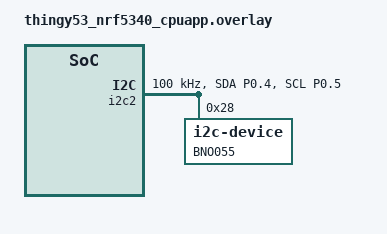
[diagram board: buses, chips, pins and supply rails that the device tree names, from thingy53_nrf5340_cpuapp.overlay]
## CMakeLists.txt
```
cmake_minimum_required(VERSION 3.20.0)
find_package(Zephyr REQUIRED HINTS $ENV{ZEPHYR_BASE})

project(imu-stuff)

target_sources(app PRIVATE src/main.c src/bno055.c)
target_include_directories(app PRIVATE src)
```

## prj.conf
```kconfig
CONFIG_GPIO=y
CONFIG_I2C=y

CONFIG_CBPRINTF_FP_SUPPORT=y
CONFIG_SENSOR=y

CONFIG_STDOUT_CONSOLE=y
```

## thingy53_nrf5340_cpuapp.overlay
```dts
// To get started, press Ctrl+Space (or Option+Esc) to bring up the completion menu and view the available nodes.

// You can also use the buttons in the sidebar to perform actions on nodes.
// Actions currently available include:

// * Enabling / disabling the node
// * Adding the bus to a bus
// * Removing the node
// * Connecting ADC channels

// For more help, browse the DeviceTree documentation at https://docs.zephyrproject.org/latest/guides/dts/index.html
// You can also visit the nRF DeviceTree extension documentation at https://docs.nordicsemi.com/bundle/nrf-connect-vscode/page/guides/ncs_configure_app.html#devicetree-support-in-the-extension

&pinctrl {
	i2c2_default: i2c2_default {
		group1 {
			psels = <NRF_PSEL(TWIM_SDA, 0, 4)>,
				<NRF_PSEL(TWIM_SCL, 0, 5)>;
		};
	};

	i2c2_sleep: i2c2_sleep {
		group1 {
			psels = <NRF_PSEL(TWIM_SDA, 0, 4)>,
				<NRF_PSEL(TWIM_SCL, 0, 5)>;
			low-power-enable;
		};
	};
};

&i2c2 {
	compatible = "nordic,nrf-twim";
	status = "okay";
	clock-frequency = <I2C_BITRATE_STANDARD>;

	pinctrl-0 = <&i2c2_default>;
	pinctrl-1 = <&i2c2_sleep>;
	pinctrl-names = "default", "sleep";

        bno055: bno055@28 {
            compatible = "i2c-device";
            reg = <0x28>;
            label = "BNO055";
        };
};
```

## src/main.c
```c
#include <zephyr/kernel.h>
#include <zephyr/drivers/i2c.h>
#include <zephyr/drivers/sensor.h>
#include <stdio.h>
#include "bno055.h"

#define SLEEP_TIME_MS 1000
#define I2C2_NODE DT_NODELABEL(bno055)

static const struct i2c_dt_spec dev_i2c = I2C_DT_SPEC_GET(I2C2_NODE);



int main(void)
{

        if (!device_is_ready(dev_i2c.bus)) {
		printf("Device %s is not ready\n", dev_i2c.bus->name);
		return 0;
	}

        printf("Device %p name is %s\n", &dev_i2c, dev_i2c.bus->name);

        uint8_t accel_data[6];
        int16_t accel_x, accel_y, accel_z;
        float accel_x_f, accel_y_f, accel_z_f;

        

        int ret;
        uint8_t config[2] = {BNO055_OPR_MODE_ADDR,BNO055_OPERATION_MODE_NDOF};
        ret = i2c_write_dt(&dev_i2c, config, sizeof(config));
        if(ret != 0){
	        printf("Failed to write to I2C device address %x at reg. %x \n\r", dev_i2c.addr,config[0]);
        }

        while (true) {
                if (i2c_burst_read_dt(&dev_i2c, BNO055_ACCEL_DATA_X_LSB_ADDR, accel_data, sizeof(accel_data)) < 0) {
                        printf("Failed to read acceleration data\n");
                } else {

                        accel_x = (int16_t)((accel_data[1] << 8) | accel_data[0]);
                        accel_y = (int16_t)((accel_data[3] << 8) | accel_data[2]);
                        accel_z = (int16_t)((accel_data[5] << 8) | accel_data[4]);

                        accel_x_f = accel_x * 0.00980665;
                        accel_y_f = accel_y * 0.00980665;
                        accel_z_f = accel_z * 0.00980665;

                        printf("Accel (m/s^2): X=%.2f, Y=%.2f, Z=%.2f\n", accel_x_f, accel_y_f, accel_z_f);
                }

                k_msleep(500); 
        }
        
        return 0;
}
```
